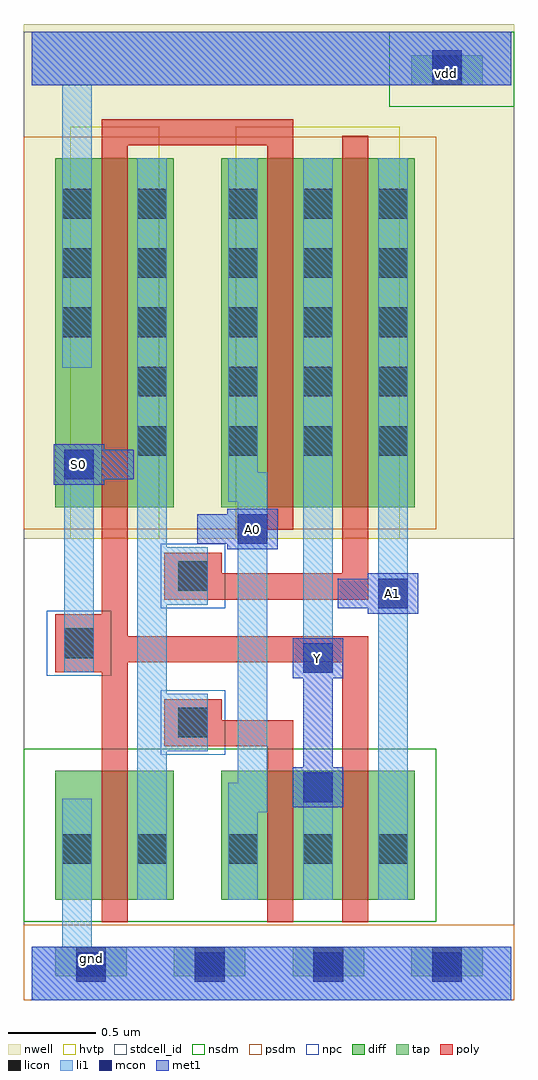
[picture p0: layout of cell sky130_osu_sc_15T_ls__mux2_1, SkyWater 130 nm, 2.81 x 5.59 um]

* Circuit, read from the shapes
.subckt sky130_osu_sc_15T_ls__mux2_1 A0 A1 S0 Y gnd vdd
XM1 n1 S0 gnd gnd sky130_fd_pr__nfet_01v8 w=0.74 l=0.15
XM2 Y n1 A0 gnd sky130_fd_pr__nfet_01v8 w=0.74 l=0.15
XM3 A1 S0 Y gnd sky130_fd_pr__nfet_01v8 w=0.74 l=0.15
XM4 n1 S0 vdd vdd sky130_fd_pr__pfet_01v8_hvt w=2 l=0.15
XM5 Y S0 A0 vdd sky130_fd_pr__pfet_01v8_hvt w=2 l=0.15
XM6 A1 n1 Y vdd sky130_fd_pr__pfet_01v8_hvt w=2 l=0.15
.ends

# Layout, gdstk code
import gdstk
lib = gdstk.Library(unit=1e-6, precision=1e-09)
def R(c, l, rs):  # rectangles x0, y0, x1, y1
    for r in rs: c.add(gdstk.rectangle(r[:2], r[2:], *l))
def A(c, l, x, y, w, h, nx, ny, dx, dy):  # array of equal rectangles
    R(c, l, [(x+i*dx, y+j*dy, x+i*dx+w, y+j*dy+h) for i in range(nx) for j in range(ny)])
nwell = (64, 20)
diff = (65, 20)
tap = (65, 44)
poly = (66, 20)
licon = (66, 44)
li1 = (67, 20)
mcon = (67, 44)
met1 = (68, 20)
hvtp = (78, 44)
stdcell_id = (81, 4)
nsdm = (93, 44)
psdm = (94, 20)
npc = (95, 20)

sky130_osu_sc_15t_ls__mu = lib.new_cell('sky130_osu_sc_15T_ls__mux2_1')
R(sky130_osu_sc_15t_ls__mu, nwell, [(-0.045,2.645,2.765,5.595)])
R(sky130_osu_sc_15t_ls__mu, diff, [(0.135,0.575,0.815,1.315), (1.085,0.575,2.195,1.315), (0.135,2.825,0.815,4.825), (1.085,2.825,2.195,4.825)])
A(sky130_osu_sc_15t_ls__mu, tap, 0.135, 0.135, 0.41, 0.17, 4, 1, 0.68, 0)
R(sky130_osu_sc_15t_ls__mu, tap, [(2.175,5.245,2.585,5.415)])
R(sky130_osu_sc_15t_ls__mu, poly, [(0.4,0.445,0.55,1.88), (1.35,0.445,1.5,1.455), (1.78,0.445,1.93,1.935), (0.76,1.455,1.5,1.605), (0.76,1.605,1.09,1.725), (0.135,1.88,0.55,1.935), (0.135,1.935,1.93,2.085), (0.135,2.085,0.55,2.21), (0.4,2.21,0.55,4.9), (0.76,2.295,1.93,2.445), (0.76,2.445,1.09,2.565), (1.78,2.445,1.93,4.955), (1.35,2.695,1.5,4.9), (0.4,4.9,1.5,5.05)])
A(sky130_osu_sc_15t_ls__mu, licon, 0.255, 0.135, 0.17, 0.17, 4, 1, 0.68, 0)
A(sky130_osu_sc_15t_ls__mu, licon, 1.125, 0.78, 0.17, 0.17, 3, 2, 0.43, 2.34)
A(sky130_osu_sc_15t_ls__mu, licon, 0.605, 3.12, 0.17, 0.17, 1, 5, 0, 0.34)
A(sky130_osu_sc_15t_ls__mu, licon, 1.125, 3.46, 0.17, 0.17, 3, 4, 0.43, 0.34)
A(sky130_osu_sc_15t_ls__mu, licon, 0.175, 3.8, 0.17, 0.17, 1, 3, 0, 0.34)
R(sky130_osu_sc_15t_ls__mu, licon, [(0.175,0.78,0.345,0.95), (0.605,0.78,0.775,0.95), (0.84,1.505,1.01,1.675), (0.185,1.96,0.355,2.13), (0.84,2.345,1.01,2.515), (2.295,5.245,2.465,5.415)])
R(sky130_osu_sc_15t_ls__mu, li1, [(0,0,2.75,0.305), (0.175,0.305,0.345,1.155), (0.605,0.575,0.775,1.425), (1.125,0.575,1.295,1.075), (1.555,0.575,1.725,1.305), (1.985,0.575,2.155,4.825), (1.125,1.075,1.35,1.245), (1.18,1.245,1.35,2.855), (0.605,1.425,1.01,1.755), (0.605,1.755,0.775,2.265), (1.555,1.875,1.725,4.825), (0.185,1.88,0.355,3.155), (0.605,2.265,1.01,2.595), (0.605,2.595,0.775,4.825), (1.125,2.855,1.35,3.025), (1.125,3.025,1.295,4.825), (0.175,3.625,0.345,5.245), (0,5.245,2.75,5.55)])
A(sky130_osu_sc_15t_ls__mu, mcon, 0.255, 0.105, 0.17, 0.17, 4, 1, 0.68, 0)
R(sky130_osu_sc_15t_ls__mu, mcon, [(1.555,1.135,1.725,1.305), (1.555,1.875,1.725,2.045), (1.985,2.245,2.155,2.415), (1.18,2.615,1.35,2.785), (0.185,2.985,0.355,3.155), (2.295,5.275,2.465,5.445)])
R(sky130_osu_sc_15t_ls__mu, met1, [(0,0,2.75,0.305), (1.495,1.105,1.785,1.335), (1.555,1.335,1.725,1.845), (1.495,1.845,1.785,2.075), (1.925,2.215,2.215,2.245), (1.755,2.245,2.215,2.415), (1.925,2.415,2.215,2.445), (1.12,2.585,1.41,2.615), (0.95,2.615,1.41,2.785), (1.12,2.785,1.41,2.815), (0.125,2.955,0.415,2.985), (0.125,2.985,0.585,3.155), (0.125,3.155,0.415,3.185), (0,5.245,2.75,5.55)])
R(sky130_osu_sc_15t_ls__mu, hvtp, [(0.22,2.645,0.73,5.005), (1.17,2.645,2.11,5.005)])
R(sky130_osu_sc_15t_ls__mu, stdcell_id, [(-0.045,0,2.765,5.55)])
R(sky130_osu_sc_15t_ls__mu, nsdm, [(-0.045,0.45,2.32,1.44), (2.05,5.12,2.765,5.55)])
R(sky130_osu_sc_15t_ls__mu, psdm, [(-0.045,0,2.765,0.43), (-0.045,2.7,2.32,4.95)])
R(sky130_osu_sc_15t_ls__mu, npc, [(0.74,1.405,1.11,1.775), (0.085,1.86,0.455,2.23), (0.74,2.245,1.11,2.615)])
sky130_osu_sc_15t_ls__mu.add(gdstk.Label('gnd', (0.34,0.24), layer=68, texttype=16))
sky130_osu_sc_15t_ls__mu.add(gdstk.Label('vdd', (2.38,5.31), layer=68, texttype=16))
sky130_osu_sc_15t_ls__mu.add(gdstk.Label('S0', (0.27,3.07), layer=68, texttype=5))
sky130_osu_sc_15t_ls__mu.add(gdstk.Label('Y', (1.64,1.96), layer=68, texttype=5))
sky130_osu_sc_15t_ls__mu.add(gdstk.Label('A0', (1.265,2.7), layer=68, texttype=5))
sky130_osu_sc_15t_ls__mu.add(gdstk.Label('A1', (2.07,2.33), layer=68, texttype=5))

lib.write_gds('sky130_osu_sc_15T_ls__mux2_1.gds')
